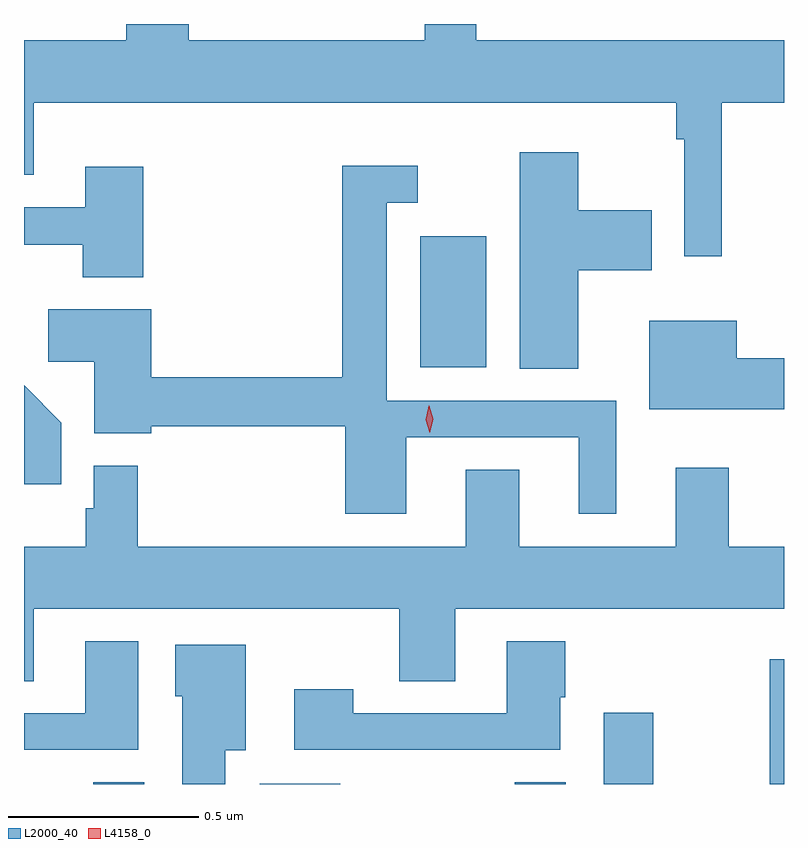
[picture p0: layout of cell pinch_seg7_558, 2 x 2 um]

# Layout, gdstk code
import gdstk
lib = gdstk.Library(unit=1e-6, precision=1e-09)
def R(c, l, rs):  # rectangles x0, y0, x1, y1
    for r in rs: c.add(gdstk.rectangle(r[:2], r[2:], *l))
def P(c, l, *ps):  # polygons
    for p in ps: c.add(gdstk.Polygon(p, *l))
L2000_40 = (2000, 40)
L4158_0 = (4158, 0)

pinch_seg7_558 = lib.new_cell('pinch_seg7_558')
R(pinch_seg7_558, L2000_40, [(151.142,1077.411,151.276,1077.416), (151.58,1077.411,151.792,1077.412), (152.252,1077.411,152.386,1077.416), (152.486,1077.411,152.616,1077.598), (152.923,1077.411,152.96,1077.739), (152.003,1078.508,152.176,1078.852)])
P(pinch_seg7_558, L2000_40, [(152.796,1079.204),(152.96,1079.204),(152.96,1079.368),(152.15,1079.368),(152.15,1079.411),(152.014,1079.411),(152.014,1079.368),(151.394,1079.368),(151.394,1079.411),(151.229,1079.411),(151.229,1079.368),(150.96,1079.368),(150.96,1079.014),(150.985,1079.014),(150.985,1079.204),(152.677,1079.204),(152.677,1079.108),(152.697,1079.108),(152.697,1078.8),(152.796,1078.8)],
  [(152.419,1078.763),(152.612,1078.763),(152.612,1078.921),(152.419,1078.921),(152.419,1079.074),(152.264,1079.074),(152.264,1078.504),(152.419,1078.504)],
  [(151.966,1078.323),(152.42,1078.323),(152.42,1078.122),(152.518,1078.122),(152.518,1078.419),(151.914,1078.419),(151.914,1078.941),(151.996,1078.941),(151.996,1079.038),(151.798,1079.038),(151.798,1078.481),(151.295,1078.481),(151.295,1078.66),(151.024,1078.66),(151.024,1078.522),(151.145,1078.522),(151.145,1078.334),(151.295,1078.334),(151.295,1078.353),(151.805,1078.353),(151.805,1078.122),(151.966,1078.122)],
  [(151.274,1079.035),(151.121,1079.035),(151.121,1078.929),(150.96,1078.929),(150.96,1078.83),(151.114,1078.83),(151.114,1078.745),(151.274,1078.745)],
  [(152.96,1078.532),(152.836,1078.532),(152.836,1078.63),(152.606,1078.63),(152.606,1078.397),(152.96,1078.397)],
  [(151.058,1078.362),(150.96,1078.46),(150.96,1078.2),(151.058,1078.2)],
  [(150.985,1077.872),(151.948,1077.872),(151.948,1077.682),(152.095,1077.682),(152.095,1077.872),(152.96,1077.872),(152.96,1078.036),(152.815,1078.036),(152.815,1078.243),(152.675,1078.243),(152.675,1078.036),(152.263,1078.036),(152.263,1078.238),(152.123,1078.238),(152.123,1078.036),(151.259,1078.036),(151.259,1078.249),(151.143,1078.249),(151.143,1078.137),(151.123,1078.137),(151.123,1078.036),(150.96,1078.036),(150.96,1077.682),(150.985,1077.682)],
  [(151.261,1077.787),(151.121,1077.787),(151.121,1077.597),(150.96,1077.597),(150.96,1077.501),(151.261,1077.501)],
  [(152.371,1077.639),(152.384,1077.639),(152.384,1077.787),(152.231,1077.787),(152.231,1077.597),(151.827,1077.597),(151.827,1077.661),(151.671,1077.661),(151.671,1077.501),(152.371,1077.501)],
  [(151.489,1077.5),(151.543,1077.5),(151.543,1077.778),(151.358,1077.778),(151.358,1077.642),(151.376,1077.642),(151.376,1077.411),(151.489,1077.411)])
P(pinch_seg7_558, L4158_0, [(152.028,1078.335),(152.028,1078.335),(152.017,1078.37),(152.025,1078.406),(152.026,1078.407),(152.026,1078.406),(152.037,1078.371),(152.028,1078.335)])

lib.write_gds('pinch_seg7_558.gds')
